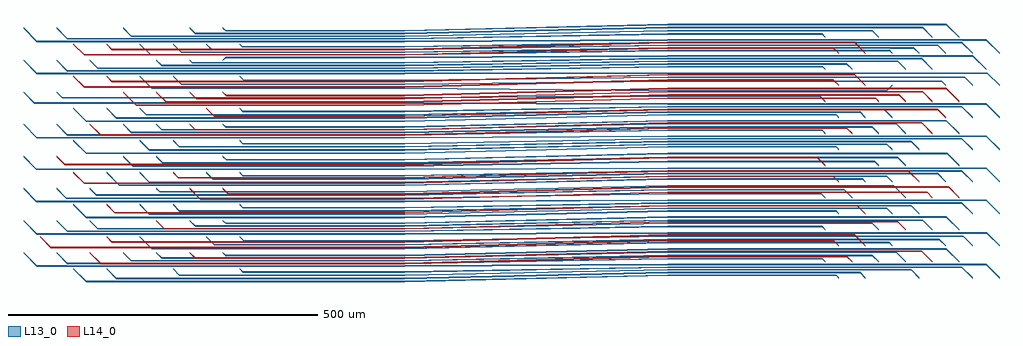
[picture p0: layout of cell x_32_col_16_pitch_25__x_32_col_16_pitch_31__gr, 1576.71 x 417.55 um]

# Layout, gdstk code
import gdstk
lib = gdstk.Library(unit=1e-6, precision=1e-09)
def R(c, l, rs):  # rectangles x0, y0, x1, y1
    for r in rs: c.add(gdstk.rectangle(r[:2], r[2:], *l))
def A(c, l, x, y, w, h, nx, ny, dx, dy):  # array of equal rectangles
    R(c, l, [(x+i*dx, y+j*dy, x+i*dx+w, y+j*dy+h) for i in range(nx) for j in range(ny)])
def P(c, l, *ps):  # polygons
    for p in ps: c.add(gdstk.Polygon(p, *l))
L13_0 = (13, 0)
L14_0 = (14, 0)

x_32_col_16_pitch_25__x_ = lib.new_cell('x_32_col_16_pitch_25__x_32_col_16_pitch_31__gr')
A(x_32_col_16_pitch_25__x_, L13_0, 1360.153, 1466.224, 514.847, 2, 1, 3, 0, 103.68)
A(x_32_col_16_pitch_25__x_, L13_0, 2300, 1476.56, 271.46, 2, 1, 3, 0, 103.68)
A(x_32_col_16_pitch_25__x_, L13_0, 1510.865, 1476.592, 364.135, 2, 1, 3, 0, 103.68)
A(x_32_col_16_pitch_25__x_, L13_0, 2300, 1485.2, 392.72, 2, 1, 3, 0, 103.68)
A(x_32_col_16_pitch_25__x_, L13_0, 2300, 1555.184, 248.946, 2, 1, 3, 0, 155.52)
A(x_32_col_16_pitch_25__x_, L13_0, 2300, 1560.368, 330.362, 2, 1, 3, 0, 155.52)
A(x_32_col_16_pitch_25__x_, L13_0, 2300, 1570.736, 449.894, 2, 1, 3, 0, 155.52)
A(x_32_col_16_pitch_25__x_, L13_0, 1462.352, 1575.088, 412.648, 2, 1, 3, 0, 51.84)
A(x_32_col_16_pitch_25__x_, L13_0, 2300, 1584.56, 353.74, 2, 1, 3, 0, 51.84)
A(x_32_col_16_pitch_25__x_, L13_0, 1613.064, 1585.456, 261.936, 2, 1, 4, 0, 51.84)
A(x_32_col_16_pitch_25__x_, L13_0, 2300, 1593.2, 475, 2, 1, 4, 0, 51.84)
A(x_32_col_16_pitch_25__x_, L13_0, 2300, 1597.52, 513.982, 2, 1, 4, 0, 51.84)
R(x_32_col_16_pitch_25__x_, L13_0, [(1408.662,1471.408,1875,1473.408), (2300,1480.88,2610.44,1482.88), (1613.064,1481.776,1875,1483.776), (2300,1489.52,2775,1491.52), (1280.472,1491.28,1875,1493.28), (2300,1493.84,2813.982,1495.84), (1329.85,1495.6,1875,1497.6), (1432.917,1499.92,1875,1501.92), (2300,1503.344,2548.946,1505.344), (1482.29,1504.24,1875,1506.24), (2300,1508.528,2630.362,1510.528), (1585.36,1508.56,1875,1510.56), (2300,1513.712,2668.478,1515.712), (2300,1518.896,2749.894,1520.896), (1466.24,1519.36,1875,1521.36), (1567.15,1525.84,1875,1527.84), (2300,1529.264,2657.196,1531.264), (1614.36,1532.32,1875,1534.32), (2300,1534.448,2738.612,1536.448), (2300,1539.632,2776.728,1541.632), (1280.472,1543.12,1875,1545.12), (2300,1544.816,2814.846,1546.816), (1329.85,1547.44,1875,1549.44), (1379.22,1551.76,1875,1553.76), (1535.98,1556.08,1875,1558.08), (1585.36,1560.4,1875,1562.4), (2300,1565.552,2711.778,1567.552), (1279.608,1595.824,1875,1597.824), (1328.122,1601.008,1875,1603.008), (1376.628,1606.192,1875,1608.192), (2300,1608.32,2547.65,1610.32), (1478.834,1611.376,1875,1613.376), (2300,1614.8,2584.47,1616.8), (2300,1621.28,2664.59,1623.28), (1413.846,1621.744,1875,1623.744), (2300,1632.08,2614.76,1634.08), (1564.558,1632.112,1875,1634.112), (2300,1640.72,2736.02,1642.72), (1279.608,1647.664,1875,1649.664), (1435.509,1652.848,1875,1654.848), (1484.018,1658.032,1875,1660.032), (2300,1660.16,2634.25,1662.16), (1586.224,1663.216,1875,1665.216), (2300,1666.64,2671.07,1668.64), (2300,1673.12,2751.19,1675.12), (1280.472,1698.64,1875,1700.64), (1329.85,1702.96,1875,1704.96), (1432.917,1707.28,1875,1709.28), (1482.29,1711.6,1875,1713.6), (1585.36,1715.92,1875,1717.92), (2300,1721.072,2668.478,1723.072), (1360.153,1725.424,1875,1727.424), (1408.662,1730.608,1875,1732.608), (2300,1735.76,2571.46,1737.76), (1457.168,1735.792,1875,1737.792), (2300,1740.08,2610.44,1742.08), (2300,1744.4,2649.42,1746.4), (1276.152,1754.8,1875,1756.8), (1321.21,1763.44,1875,1765.44), (2300,1766,2545.49,1768), (2300,1774.64,2653.74,1776.64), (1466.24,1778.56,1875,1780.56), (1513.457,1785.04,1875,1787.04), (2300,1789.76,2742.5,1791.76), (1614.36,1791.52,1875,1793.52), (2300,1796.24,2779.32,1798.24), (1280.472,1802.32,1875,1804.32), (2300,1802.72,2816.142,1804.72), (1329.85,1806.64,1875,1808.64), (1379.22,1810.96,1875,1812.96), (2300,1813.52,2549.81,1815.52), (1482.29,1815.28,1875,1817.28), (2300,1817.84,2588.79,1819.84), (1531.66,1819.6,1875,1821.6), (2300,1822.16,2671.07,1824.16), (2300,1826.48,2710.05,1828.48), (1585.36,1828.24,1875,1830.24), (2300,1830.8,2792.332,1832.8), (1464.08,1832.56,1875,1834.56), (1513.457,1836.88,1875,1838.88), (2300,1839.44,2658.06,1841.44), (1562.83,1841.2,1875,1843.2), (2300,1843.76,2697.04,1845.76), (1612.2,1845.52,1875,1847.52), (2300,1848.08,2736.02,1850.08), (2300,1852.4,2775,1854.4), (1280.472,1854.16,1875,1856.16), (2300,1856.72,2813.982,1858.72), (1329.85,1858.48,1875,1860.48), (1432.917,1862.8,1875,1864.8), (1535.98,1867.12,1875,1869.12), (1585.36,1871.44,1875,1873.44), (2300,1876.592,2711.778,1878.592)])
P(x_32_col_16_pitch_25__x_, L13_0, [(2554.13,1861.04),(2554.13,1863.04),(2548.946,1868.224),(2548.946,1866.224)],
  [(2300,1866.224),(2300,1868.224),(1875,1860.48),(1875,1858.48)],
  [(1329.85,1858.48),(1329.85,1860.48),(1312.57,1877.76),(1312.57,1875.76)],
  [(2640.73,1861.04),(2640.73,1863.04),(2630.362,1873.408),(2630.362,1871.408)],
  [(2300,1871.408),(2300,1873.408),(1875,1864.8),(1875,1862.8)],
  [(1432.917,1862.8),(1432.917,1864.8),(1419.957,1877.76),(1419.957,1875.76)],
  [(2727.33,1861.04),(2727.33,1863.04),(2711.778,1878.592),(2711.778,1876.592)],
  [(2300,1876.592),(2300,1878.592),(1875,1869.12),(1875,1867.12)],
  [(1535.98,1867.12),(1535.98,1869.12),(1527.34,1877.76),(1527.34,1875.76)],
  [(2770.63,1861.04),(2770.63,1863.04),(2749.894,1883.776),(2749.894,1881.776)],
  [(2300,1881.776),(2300,1883.776),(1875,1873.44),(1875,1871.44)],
  [(1585.36,1871.44),(1585.36,1873.44),(1581.04,1877.76),(1581.04,1875.76)],
  [(2662.38,1835.12),(2662.38,1837.12),(2658.06,1841.44),(2658.06,1839.44)],
  [(2300,1839.44),(2300,1841.44),(1875,1834.56),(1875,1832.56)],
  [(1464.08,1832.56),(1464.08,1834.56),(1446.8,1851.84),(1446.8,1849.84)],
  [(2705.68,1835.12),(2705.68,1837.12),(2697.04,1845.76),(2697.04,1843.76)],
  [(2300,1843.76),(2300,1845.76),(1875,1838.88),(1875,1836.88)],
  [(1513.457,1836.88),(1513.457,1838.88),(1500.497,1851.84),(1500.497,1849.84)],
  [(2748.98,1835.12),(2748.98,1837.12),(2736.02,1850.08),(2736.02,1848.08)],
  [(2300,1848.08),(2300,1850.08),(1875,1843.2),(1875,1841.2)],
  [(1562.83,1841.2),(1562.83,1843.2),(1554.19,1851.84),(1554.19,1849.84)],
  [(2792.28,1835.12),(2792.28,1837.12),(2775,1854.4),(2775,1852.4)],
  [(2300,1852.4),(2300,1854.4),(1875,1847.52),(1875,1845.52)],
  [(1612.2,1845.52),(1612.2,1847.52),(1607.88,1851.84),(1607.88,1849.84)],
  [(2835.582,1835.12),(2835.582,1837.12),(2813.982,1858.72),(2813.982,1856.72)],
  [(2300,1856.72),(2300,1858.72),(1875,1856.16),(1875,1854.16)],
  [(1280.472,1854.16),(1280.472,1856.16),(1258.872,1877.76),(1258.872,1875.76)],
  [(2554.13,1809.2),(2554.13,1811.2),(2549.81,1815.52),(2549.81,1813.52)],
  [(2300,1813.52),(2300,1815.52),(1875,1808.64),(1875,1806.64)],
  [(1329.85,1806.64),(1329.85,1808.64),(1312.57,1825.92),(1312.57,1823.92)],
  [(2597.43,1809.2),(2597.43,1811.2),(2588.79,1819.84),(2588.79,1817.84)],
  [(2300,1817.84),(2300,1819.84),(1875,1812.96),(1875,1810.96)],
  [(1379.22,1810.96),(1379.22,1812.96),(1366.26,1825.92),(1366.26,1823.92)],
  [(2684.03,1809.2),(2684.03,1811.2),(2671.07,1824.16),(2671.07,1822.16)],
  [(2300,1822.16),(2300,1824.16),(1875,1817.28),(1875,1815.28)],
  [(1482.29,1815.28),(1482.29,1817.28),(1473.65,1825.92),(1473.65,1823.92)],
  [(2727.33,1809.2),(2727.33,1811.2),(2710.05,1828.48),(2710.05,1826.48)],
  [(2300,1826.48),(2300,1828.48),(1875,1821.6),(1875,1819.6)],
  [(1531.66,1819.6),(1531.66,1821.6),(1527.34,1825.92),(1527.34,1823.92)],
  [(2813.932,1809.2),(2813.932,1811.2),(2792.332,1832.8),(2792.332,1830.8)],
  [(2300,1830.8),(2300,1832.8),(1875,1830.24),(1875,1828.24)],
  [(1585.36,1828.24),(1585.36,1830.24),(1581.04,1825.92),(1581.04,1823.92)],
  [(2662.38,1783.28),(2662.38,1785.28),(2653.74,1776.64),(2653.74,1774.64)],
  [(2300,1774.64),(2300,1776.64),(1875,1780.56),(1875,1778.56)],
  [(1466.24,1778.56),(1466.24,1780.56),(1446.8,1800),(1446.8,1798)],
  [(2748.98,1783.28),(2748.98,1785.28),(2742.5,1791.76),(2742.5,1789.76)],
  [(2300,1789.76),(2300,1791.76),(1875,1787.04),(1875,1785.04)],
  [(1513.457,1785.04),(1513.457,1787.04),(1500.497,1800),(1500.497,1798)],
  [(2792.28,1783.28),(2792.28,1785.28),(2779.32,1798.24),(2779.32,1796.24)],
  [(2300,1796.24),(2300,1798.24),(1875,1793.52),(1875,1791.52)],
  [(1614.36,1791.52),(1614.36,1793.52),(1607.88,1800),(1607.88,1798)],
  [(2835.582,1783.28),(2835.582,1785.28),(2816.142,1804.72),(2816.142,1802.72)],
  [(2300,1802.72),(2300,1804.72),(1875,1804.32),(1875,1802.32)],
  [(1280.472,1802.32),(1280.472,1804.32),(1258.872,1825.92),(1258.872,1823.92)],
  [(2554.13,1757.36),(2554.13,1759.36),(2545.49,1768),(2545.49,1766)],
  [(2300,1766),(2300,1768),(1875,1765.44),(1875,1763.44)],
  [(1321.21,1763.44),(1321.21,1765.44),(1312.57,1774.08),(1312.57,1772.08)],
  [(2575.78,1731.44),(2575.78,1733.44),(2571.46,1737.76),(2571.46,1735.76)],
  [(2300,1735.76),(2300,1737.76),(1875,1727.424),(1875,1725.424)],
  [(1360.153,1725.424),(1360.153,1727.424),(1339.417,1748.16),(1339.417,1746.16)],
  [(2619.08,1731.44),(2619.08,1733.44),(2610.44,1742.08),(2610.44,1740.08)],
  [(2300,1740.08),(2300,1742.08),(1875,1732.608),(1875,1730.608)],
  [(1408.662,1730.608),(1408.662,1732.608),(1393.11,1748.16),(1393.11,1746.16)],
  [(2662.38,1731.44),(2662.38,1733.44),(2649.42,1746.4),(2649.42,1744.4)],
  [(2300,1744.4),(2300,1746.4),(1875,1737.792),(1875,1735.792)],
  [(1457.168,1735.792),(1457.168,1737.792),(1446.8,1748.16),(1446.8,1746.16)],
  [(2792.28,1731.44),(2792.28,1733.44),(2775,1750.72),(2775,1748.72)],
  [(2300,1748.72),(2300,1750.72),(1875,1742.976),(1875,1740.976)],
  [(1613.064,1740.976),(1613.064,1742.976),(1607.88,1748.16),(1607.88,1746.16)],
  [(2835.582,1731.44),(2835.582,1733.44),(2813.982,1755.04),(2813.982,1753.04)],
  [(2300,1753.04),(2300,1755.04),(1875,1756.8),(1875,1754.8)],
  [(1276.152,1754.8),(1276.152,1756.8),(1258.872,1774.08),(1258.872,1772.08)],
  [(2554.13,1705.52),(2554.13,1707.52),(2548.946,1712.704),(2548.946,1710.704)],
  [(2300,1710.704),(2300,1712.704),(1875,1704.96),(1875,1702.96)],
  [(1329.85,1702.96),(1329.85,1704.96),(1312.57,1722.24),(1312.57,1720.24)],
  [(2640.73,1705.52),(2640.73,1707.52),(2630.362,1717.888),(2630.362,1715.888)],
  [(2300,1715.888),(2300,1717.888),(1875,1709.28),(1875,1707.28)],
  [(1432.917,1707.28),(1432.917,1709.28),(1419.957,1722.24),(1419.957,1720.24)],
  [(2684.03,1705.52),(2684.03,1707.52),(2668.478,1723.072),(2668.478,1721.072)],
  [(2300,1721.072),(2300,1723.072),(1875,1713.6),(1875,1711.6)],
  [(1482.29,1711.6),(1482.29,1713.6),(1473.65,1722.24),(1473.65,1720.24)],
  [(2770.63,1705.52),(2770.63,1707.52),(2749.894,1728.256),(2749.894,1726.256)],
  [(2300,1726.256),(2300,1728.256),(1875,1717.92),(1875,1715.92)],
  [(1585.36,1715.92),(1585.36,1717.92),(1581.04,1722.24),(1581.04,1720.24)],
  [(2575.78,1679.6),(2575.78,1681.6),(2571.46,1685.92),(2571.46,1683.92)],
  [(2300,1683.92),(2300,1685.92),(1875,1675.584),(1875,1673.584)],
  [(1360.153,1673.584),(1360.153,1675.584),(1339.417,1696.32),(1339.417,1694.32)],
  [(2662.38,1679.6),(2662.38,1681.6),(2653.74,1690.24),(2653.74,1688.24)],
  [(2300,1688.24),(2300,1690.24),(1875,1680.768),(1875,1678.768)],
  [(1462.352,1678.768),(1462.352,1680.768),(1446.8,1696.32),(1446.8,1694.32)],
  [(2705.68,1679.6),(2705.68,1681.6),(2692.72,1694.56),(2692.72,1692.56)],
  [(2300,1692.56),(2300,1694.56),(1875,1685.952),(1875,1683.952)],
  [(1510.865,1683.952),(1510.865,1685.952),(1500.497,1696.32),(1500.497,1694.32)],
  [(2792.28,1679.6),(2792.28,1681.6),(2775,1698.88),(2775,1696.88)],
  [(2300,1696.88),(2300,1698.88),(1875,1691.136),(1875,1689.136)],
  [(1613.064,1689.136),(1613.064,1691.136),(1607.88,1696.32),(1607.88,1694.32)],
  [(2835.582,1679.6),(2835.582,1681.6),(2813.982,1703.2),(2813.982,1701.2)],
  [(2300,1701.2),(2300,1703.2),(1875,1700.64),(1875,1698.64)],
  [(1280.472,1698.64),(1280.472,1700.64),(1258.872,1722.24),(1258.872,1720.24)],
  [(2640.73,1653.68),(2640.73,1655.68),(2634.25,1662.16),(2634.25,1660.16)],
  [(2300,1660.16),(2300,1662.16),(1875,1654.848),(1875,1652.848)],
  [(1435.509,1652.848),(1435.509,1654.848),(1419.957,1670.4),(1419.957,1668.4)],
  [(2684.03,1653.68),(2684.03,1655.68),(2671.07,1668.64),(2671.07,1666.64)],
  [(2300,1666.64),(2300,1668.64),(1875,1660.032),(1875,1658.032)],
  [(1484.018,1658.032),(1484.018,1660.032),(1473.65,1670.4),(1473.65,1668.4)],
  [(2770.63,1653.68),(2770.63,1655.68),(2751.19,1675.12),(2751.19,1673.12)],
  [(2300,1673.12),(2300,1675.12),(1875,1665.216),(1875,1663.216)],
  [(1586.224,1663.216),(1586.224,1665.216),(1581.04,1670.4),(1581.04,1668.4)],
  [(2619.08,1627.76),(2619.08,1629.76),(2614.76,1634.08),(2614.76,1632.08)],
  [(2300,1632.08),(2300,1634.08),(1875,1623.744),(1875,1621.744)],
  [(1413.846,1621.744),(1413.846,1623.744),(1393.11,1644.48),(1393.11,1642.48)],
  [(2662.38,1627.76),(2662.38,1629.76),(2653.74,1638.4),(2653.74,1636.4)],
  [(2300,1636.4),(2300,1638.4),(1875,1628.928),(1875,1626.928)],
  [(1462.352,1626.928),(1462.352,1628.928),(1446.8,1644.48),(1446.8,1642.48)],
  [(2748.98,1627.76),(2748.98,1629.76),(2736.02,1642.72),(2736.02,1640.72)],
  [(2300,1640.72),(2300,1642.72),(1875,1634.112),(1875,1632.112)],
  [(1564.558,1632.112),(1564.558,1634.112),(1554.19,1644.48),(1554.19,1642.48)],
  [(2792.28,1627.76),(2792.28,1629.76),(2775,1647.04),(2775,1645.04)],
  [(2300,1645.04),(2300,1647.04),(1875,1639.296),(1875,1637.296)],
  [(1613.064,1637.296),(1613.064,1639.296),(1607.88,1644.48),(1607.88,1642.48)],
  [(2835.582,1627.76),(2835.582,1629.76),(2813.982,1651.36),(2813.982,1649.36)],
  [(2300,1649.36),(2300,1651.36),(1875,1649.664),(1875,1647.664)],
  [(1279.608,1647.664),(1279.608,1649.664),(1258.872,1670.4),(1258.872,1668.4)],
  [(2554.13,1601.84),(2554.13,1603.84),(2547.65,1610.32),(2547.65,1608.32)],
  [(2300,1608.32),(2300,1610.32),(1875,1603.008),(1875,1601.008)],
  [(1328.122,1601.008),(1328.122,1603.008),(1312.57,1618.56),(1312.57,1616.56)],
  [(2597.43,1601.84),(2597.43,1603.84),(2584.47,1616.8),(2584.47,1614.8)],
  [(2300,1614.8),(2300,1616.8),(1875,1608.192),(1875,1606.192)],
  [(1376.628,1606.192),(1376.628,1608.192),(1366.26,1618.56),(1366.26,1616.56)],
  [(2684.03,1601.84),(2684.03,1603.84),(2664.59,1623.28),(2664.59,1621.28)],
  [(2300,1621.28),(2300,1623.28),(1875,1613.376),(1875,1611.376)],
  [(1478.834,1611.376),(1478.834,1613.376),(1473.65,1618.56),(1473.65,1616.56)],
  [(2575.78,1575.92),(2575.78,1577.92),(2571.46,1582.24),(2571.46,1580.24)],
  [(2300,1580.24),(2300,1582.24),(1875,1571.904),(1875,1569.904)],
  [(1360.153,1569.904),(1360.153,1571.904),(1339.417,1592.64),(1339.417,1590.64)],
  [(2662.38,1575.92),(2662.38,1577.92),(2653.74,1586.56),(2653.74,1584.56)],
  [(2300,1584.56),(2300,1586.56),(1875,1577.088),(1875,1575.088)],
  [(1462.352,1575.088),(1462.352,1577.088),(1446.8,1592.64),(1446.8,1590.64)],
  [(2705.68,1575.92),(2705.68,1577.92),(2692.72,1590.88),(2692.72,1588.88)],
  [(2300,1588.88),(2300,1590.88),(1875,1582.272),(1875,1580.272)],
  [(1510.865,1580.272),(1510.865,1582.272),(1500.497,1592.64),(1500.497,1590.64)],
  [(2792.28,1575.92),(2792.28,1577.92),(2775,1595.2),(2775,1593.2)],
  [(2300,1593.2),(2300,1595.2),(1875,1587.456),(1875,1585.456)],
  [(1613.064,1585.456),(1613.064,1587.456),(1607.88,1592.64),(1607.88,1590.64)],
  [(2835.582,1575.92),(2835.582,1577.92),(2813.982,1599.52),(2813.982,1597.52)],
  [(2300,1597.52),(2300,1599.52),(1875,1597.824),(1875,1595.824)],
  [(1279.608,1595.824),(1279.608,1597.824),(1258.872,1618.56),(1258.872,1616.56)],
  [(2554.13,1550),(2554.13,1552),(2548.946,1557.184),(2548.946,1555.184)],
  [(2300,1555.184),(2300,1557.184),(1875,1549.44),(1875,1547.44)],
  [(1329.85,1547.44),(1329.85,1549.44),(1312.57,1566.72),(1312.57,1564.72)],
  [(2640.73,1550),(2640.73,1552),(2630.362,1562.368),(2630.362,1560.368)],
  [(2300,1560.368),(2300,1562.368),(1875,1553.76),(1875,1551.76)],
  [(1379.22,1551.76),(1379.22,1553.76),(1366.26,1566.72),(1366.26,1564.72)],
  [(2727.33,1550),(2727.33,1552),(2711.778,1567.552),(2711.778,1565.552)],
  [(2300,1565.552),(2300,1567.552),(1875,1558.08),(1875,1556.08)],
  [(1535.98,1556.08),(1535.98,1558.08),(1527.34,1566.72),(1527.34,1564.72)],
  [(2770.63,1550),(2770.63,1552),(2749.894,1572.736),(2749.894,1570.736)],
  [(2300,1570.736),(2300,1572.736),(1875,1562.4),(1875,1560.4)],
  [(1585.36,1560.4),(1585.36,1562.4),(1581.04,1566.72),(1581.04,1564.72)],
  [(2662.38,1524.08),(2662.38,1526.08),(2657.196,1531.264),(2657.196,1529.264)],
  [(2300,1529.264),(2300,1531.264),(1875,1521.36),(1875,1519.36)],
  [(1466.24,1519.36),(1466.24,1521.36),(1446.8,1540.8),(1446.8,1538.8)],
  [(2748.98,1524.08),(2748.98,1526.08),(2738.612,1536.448),(2738.612,1534.448)],
  [(2300,1534.448),(2300,1536.448),(1875,1527.84),(1875,1525.84)],
  [(1567.15,1525.84),(1567.15,1527.84),(1554.19,1540.8),(1554.19,1538.8)],
  [(2792.28,1524.08),(2792.28,1526.08),(2776.728,1541.632),(2776.728,1539.632)],
  [(2300,1539.632),(2300,1541.632),(1875,1534.32),(1875,1532.32)],
  [(1614.36,1532.32),(1614.36,1534.32),(1607.88,1540.8),(1607.88,1538.8)],
  [(2835.582,1524.08),(2835.582,1526.08),(2814.846,1546.816),(2814.846,1544.816)],
  [(2300,1544.816),(2300,1546.816),(1875,1545.12),(1875,1543.12)],
  [(1280.472,1543.12),(1280.472,1545.12),(1258.872,1566.72),(1258.872,1564.72)],
  [(2554.13,1498.16),(2554.13,1500.16),(2548.946,1505.344),(2548.946,1503.344)],
  [(2300,1503.344),(2300,1505.344),(1875,1497.6),(1875,1495.6)],
  [(1329.85,1495.6),(1329.85,1497.6),(1312.57,1514.88),(1312.57,1512.88)],
  [(2640.73,1498.16),(2640.73,1500.16),(2630.362,1510.528),(2630.362,1508.528)],
  [(2300,1508.528),(2300,1510.528),(1875,1501.92),(1875,1499.92)],
  [(1432.917,1499.92),(1432.917,1501.92),(1419.957,1514.88),(1419.957,1512.88)],
  [(2684.03,1498.16),(2684.03,1500.16),(2668.478,1515.712),(2668.478,1513.712)],
  [(2300,1513.712),(2300,1515.712),(1875,1506.24),(1875,1504.24)],
  [(1482.29,1504.24),(1482.29,1506.24),(1473.65,1514.88),(1473.65,1512.88)],
  [(2770.63,1498.16),(2770.63,1500.16),(2749.894,1520.896),(2749.894,1518.896)],
  [(2300,1518.896),(2300,1520.896),(1875,1510.56),(1875,1508.56)],
  [(1585.36,1508.56),(1585.36,1510.56),(1581.04,1514.88),(1581.04,1512.88)],
  [(2575.78,1472.24),(2575.78,1474.24),(2571.46,1478.56),(2571.46,1476.56)],
  [(2300,1476.56),(2300,1478.56),(1875,1468.224),(1875,1466.224)],
  [(1360.153,1466.224),(1360.153,1468.224),(1339.417,1488.96),(1339.417,1486.96)],
  [(2619.08,1472.24),(2619.08,1474.24),(2610.44,1482.88),(2610.44,1480.88)],
  [(2300,1480.88),(2300,1482.88),(1875,1473.408),(1875,1471.408)],
  [(1408.662,1471.408),(1408.662,1473.408),(1393.11,1488.96),(1393.11,1486.96)],
  [(2705.68,1472.24),(2705.68,1474.24),(2692.72,1487.2),(2692.72,1485.2)],
  [(2300,1485.2),(2300,1487.2),(1875,1478.592),(1875,1476.592)],
  [(1510.865,1476.592),(1510.865,1478.592),(1500.497,1488.96),(1500.497,1486.96)],
  [(2792.28,1472.24),(2792.28,1474.24),(2775,1491.52),(2775,1489.52)],
  [(2300,1489.52),(2300,1491.52),(1875,1483.776),(1875,1481.776)],
  [(1613.064,1481.776),(1613.064,1483.776),(1607.88,1488.96),(1607.88,1486.96)],
  [(2835.582,1472.24),(2835.582,1474.24),(2813.982,1495.84),(2813.982,1493.84)],
  [(2300,1493.84),(2300,1495.84),(1875,1493.28),(1875,1491.28)],
  [(1280.472,1491.28),(1280.472,1493.28),(1258.872,1514.88),(1258.872,1512.88)])
R(x_32_col_16_pitch_25__x_, L14_0, [(1383.54,1495.6,1875,1497.6), (1535.98,1504.24,1875,1506.24), (2300,1506.8,2588.79,1508.8), (2300,1515.44,2710.05,1517.44), (1303,1521.52,1875,1523.52), (1401.75,1530.16,1875,1532.16), (2300,1532.72,2567.14,1534.72), (2300,1541.36,2601.8,1543.36), (1486.61,1551.76,1875,1553.76), (2300,1562.96,2671.07,1564.96), (1406.07,1577.68,1875,1579.68), (2300,1588.88,2606.12,1590.88), (1544.62,1599.28,1875,1601.28), (1589.68,1607.92,1875,1609.92), (2300,1610.48,2718.69,1612.48), (2300,1619.12,2753.35,1621.12), (1356.697,1625.2,1875,1627.2), (1509.137,1633.84,1875,1635.84), (2300,1636.4,2567.14,1638.4), (2300,1645.04,2688.4,1647.04), (1325.53,1655.44,1875,1657.44), (2300,1666.64,2541.17,1668.64), (1383.54,1702.96,1875,1704.96), (1535.98,1711.6,1875,1713.6), (2300,1714.16,2588.79,1716.16), (2300,1722.8,2710.05,1724.8), (1567.15,1733.2,1875,1735.2), (2300,1744.4,2736.02,1746.4), (1440.693,1751.344,1875,1753.344), (1489.202,1756.528,1875,1758.528), (1537.708,1761.712,1875,1763.712), (2300,1762.544,2635.546,1764.544), (1586.224,1766.896,1875,1768.896), (2300,1767.728,2673.662,1769.728), (2300,1772.912,2711.778,1774.912), (2300,1778.096,2749.894,1780.096), (1356.697,1780.72,1875,1782.72), (1401.75,1789.36,1875,1791.36), (2300,1791.92,2567.14,1793.92), (2300,1800.56,2601.8,1802.56), (1356.697,1832.56,1875,1834.56), (1401.75,1841.2,1875,1843.2), (2300,1843.76,2567.14,1845.76), (2300,1852.4,2601.8,1854.4)])
P(x_32_col_16_pitch_25__x_, L14_0, [(2575.78,1835.12),(2575.78,1837.12),(2567.14,1845.76),(2567.14,1843.76)],
  [(2300,1843.76),(2300,1845.76),(1875,1834.56),(1875,1832.56)],
  [(1356.697,1832.56),(1356.697,1834.56),(1339.417,1851.84),(1339.417,1849.84)],
  [(2619.08,1835.12),(2619.08,1837.12),(2601.8,1854.4),(2601.8,1852.4)],
  [(2300,1852.4),(2300,1854.4),(1875,1843.2),(1875,1841.2)],
  [(1401.75,1841.2),(1401.75,1843.2),(1393.11,1851.84),(1393.11,1849.84)],
  [(2575.78,1783.28),(2575.78,1785.28),(2567.14,1793.92),(2567.14,1791.92)],
  [(2300,1791.92),(2300,1793.92),(1875,1782.72),(1875,1780.72)],
  [(1356.697,1780.72),(1356.697,1782.72),(1339.417,1800),(1339.417,1798)],
  [(2619.08,1783.28),(2619.08,1785.28),(2601.8,1802.56),(2601.8,1800.56)],
  [(2300,1800.56),(2300,1802.56),(1875,1791.36),(1875,1789.36)],
  [(1401.75,1789.36),(1401.75,1791.36),(1393.11,1800),(1393.11,1798)],
  [(2640.73,1757.36),(2640.73,1759.36),(2635.546,1764.544),(2635.546,1762.544)],
  [(2300,1762.544),(2300,1764.544),(1875,1753.344),(1875,1751.344)],
  [(1440.693,1751.344),(1440.693,1753.344),(1419.957,1774.08),(1419.957,1772.08)],
  [(2684.03,1757.36),(2684.03,1759.36),(2673.662,1769.728),(2673.662,1767.728)],
  [(2300,1767.728),(2300,1769.728),(1875,1758.528),(1875,1756.528)],
  [(1489.202,1756.528),(1489.202,1758.528),(1473.65,1774.08),(1473.65,1772.08)],
  [(2727.33,1757.36),(2727.33,1759.36),(2711.778,1774.912),(2711.778,1772.912)],
  [(2300,1772.912),(2300,1774.912),(1875,1763.712),(1875,1761.712)],
  [(1537.708,1761.712),(1537.708,1763.712),(1527.34,1774.08),(1527.34,1772.08)],
  [(2770.63,1757.36),(2770.63,1759.36),(2749.894,1780.096),(2749.894,1778.096)],
  [(2300,1778.096),(2300,1780.096),(1875,1768.896),(1875,1766.896)],
  [(1586.224,1766.896),(1586.224,1768.896),(1581.04,1774.08),(1581.04,1772.08)],
  [(2748.98,1731.44),(2748.98,1733.44),(2736.02,1746.4),(2736.02,1744.4)],
  [(2300,1744.4),(2300,1746.4),(1875,1735.2),(1875,1733.2)],
  [(1567.15,1733.2),(1567.15,1735.2),(1554.19,1748.16),(1554.19,1746.16)],
  [(2597.43,1705.52),(2597.43,1707.52),(2588.79,1716.16),(2588.79,1714.16)],
  [(2300,1714.16),(2300,1716.16),(1875,1704.96),(1875,1702.96)],
  [(1383.54,1702.96),(1383.54,1704.96),(1366.26,1722.24),(1366.26,1720.24)],
  [(2727.33,1705.52),(2727.33,1707.52),(2710.05,1724.8),(2710.05,1722.8)],
  [(2300,1722.8),(2300,1724.8),(1875,1713.6),(1875,1711.6)],
  [(1535.98,1711.6),(1535.98,1713.6),(1527.34,1722.24),(1527.34,1720.24)],
  [(2554.13,1653.68),(2554.13,1655.68),(2541.17,1668.64),(2541.17,1666.64)],
  [(2300,1666.64),(2300,1668.64),(1875,1657.44),(1875,1655.44)],
  [(1325.53,1655.44),(1325.53,1657.44),(1312.57,1670.4),(1312.57,1668.4)],
  [(2575.78,1627.76),(2575.78,1629.76),(2567.14,1638.4),(2567.14,1636.4)],
  [(2300,1636.4),(2300,1638.4),(1875,1627.2),(1875,1625.2)],
  [(1356.697,1625.2),(1356.697,1627.2),(1339.417,1644.48),(1339.417,1642.48)],
  [(2705.68,1627.76),(2705.68,1629.76),(2688.4,1647.04),(2688.4,1645.04)],
  [(2300,1645.04),(2300,1647.04),(1875,1635.84),(1875,1633.84)],
  [(1509.137,1633.84),(1509.137,1635.84),(1500.497,1644.48),(1500.497,1642.48)],
  [(2727.33,1601.84),(2727.33,1603.84),(2718.69,1612.48),(2718.69,1610.48)],
  [(2300,1610.48),(2300,1612.48),(1875,1601.28),(1875,1599.28)],
  [(1544.62,1599.28),(1544.62,1601.28),(1527.34,1618.56),(1527.34,1616.56)],
  [(2770.63,1601.84),(2770.63,1603.84),(2753.35,1621.12),(2753.35,1619.12)],
  [(2300,1619.12),(2300,1621.12),(1875,1609.92),(1875,1607.92)],
  [(1589.68,1607.92),(1589.68,1609.92),(1581.04,1618.56),(1581.04,1616.56)],
  [(2619.08,1575.92),(2619.08,1577.92),(2606.12,1590.88),(2606.12,1588.88)],
  [(2300,1588.88),(2300,1590.88),(1875,1579.68),(1875,1577.68)],
  [(1406.07,1577.68),(1406.07,1579.68),(1393.11,1592.64),(1393.11,1590.64)],
  [(2684.03,1550),(2684.03,1552),(2671.07,1564.96),(2671.07,1562.96)],
  [(2300,1562.96),(2300,1564.96),(1875,1553.76),(1875,1551.76)],
  [(1486.61,1551.76),(1486.61,1553.76),(1473.65,1566.72),(1473.65,1564.72)],
  [(2575.78,1524.08),(2575.78,1526.08),(2567.14,1534.72),(2567.14,1532.72)],
  [(2300,1532.72),(2300,1534.72),(1875,1523.52),(1875,1521.52)],
  [(1303,1521.52),(1303,1523.52),(1285.72,1540.8),(1285.72,1538.8)],
  [(2619.08,1524.08),(2619.08,1526.08),(2601.8,1543.36),(2601.8,1541.36)],
  [(2300,1541.36),(2300,1543.36),(1875,1532.16),(1875,1530.16)],
  [(1401.75,1530.16),(1401.75,1532.16),(1393.11,1540.8),(1393.11,1538.8)],
  [(2597.43,1498.16),(2597.43,1500.16),(2588.79,1508.8),(2588.79,1506.8)],
  [(2300,1506.8),(2300,1508.8),(1875,1497.6),(1875,1495.6)],
  [(1383.54,1495.6),(1383.54,1497.6),(1366.26,1514.88),(1366.26,1512.88)],
  [(2727.33,1498.16),(2727.33,1500.16),(2710.05,1517.44),(2710.05,1515.44)],
  [(2300,1515.44),(2300,1517.44),(1875,1506.24),(1875,1504.24)],
  [(1535.98,1504.24),(1535.98,1506.24),(1527.34,1514.88),(1527.34,1512.88)])

lib.write_gds('x_32_col_16_pitch_25__x_32_col_16_pitch_31__gr.gds')
